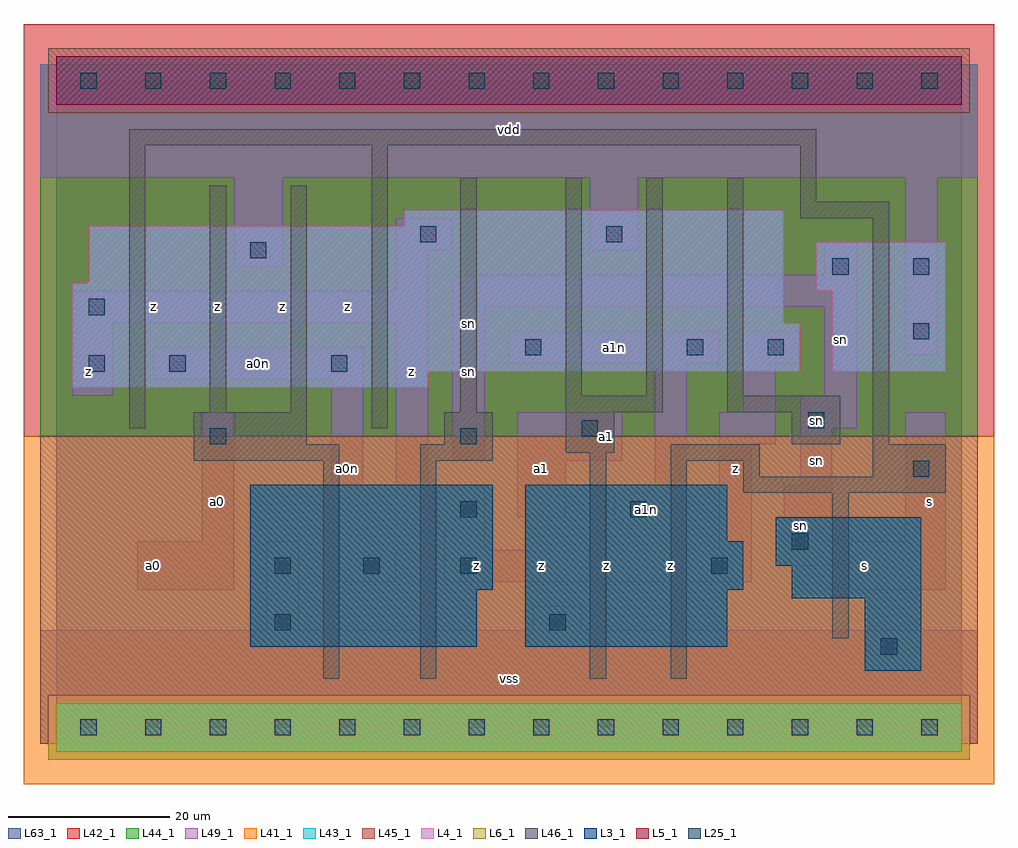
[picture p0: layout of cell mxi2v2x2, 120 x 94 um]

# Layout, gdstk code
import gdstk
lib = gdstk.Library(unit=1e-6, precision=1e-09)
def R(c, l, rs):  # rectangles x0, y0, x1, y1
    for r in rs: c.add(gdstk.rectangle(r[:2], r[2:], *l))
def A(c, l, x, y, w, h, nx, ny, dx, dy):  # array of equal rectangles
    R(c, l, [(x+i*dx, y+j*dy, x+i*dx+w, y+j*dy+h) for i in range(nx) for j in range(ny)])
L3_1 = (3, 1)
L4_1 = (4, 1)
L5_1 = (5, 1)
L6_1 = (6, 1)
L25_1 = (25, 1)
L41_1 = (41, 1)
L42_1 = (42, 1)
L43_1 = (43, 1)
L44_1 = (44, 1)
L45_1 = (45, 1)
L46_1 = (46, 1)
L49_1 = (49, 1)
L63_1 = (63, 1)

mxi2v2x2 = lib.new_cell('mxi2v2x2')
R(mxi2v2x2, L3_1, [(100,7,107,16), (24,10,52,17), (58,10,83,17), (91,16,107,20), (24,17,54,30), (58,17,85,23), (89,20,107,26), (58,23,83,30)])
R(mxi2v2x2, L4_1, [(2,42,46,44), (2,44,92,50), (96,44,110,54), (2,50,90,55), (94,54,110,60), (4,55,90,62), (43,62,90,64)])
R(mxi2v2x2, L5_1, [(0,77,112,83)])
R(mxi2v2x2, L6_1, [(0,-3,112,3), (0,-3,112,3)])
A(mxi2v2x2, L25_1, 3, -1, 2, 2, 14, 2, 8, 80)
R(mxi2v2x2, L25_1, [(102,9,104,11), (27,12,29,14), (61,12,63,14), (27,19,29,21), (38,19,40,21), (50,19,52,21), (81,19,83,21), (91,22,93,24), (50,26,52,28), (71,26,73,28), (106,31,108,33), (19,35,21,37), (50,35,52,37), (65,36,67,38), (93,37,95,39), (4,44,6,46), (14,44,16,46), (34,44,36,46), (58,46,60,48), (78,46,80,48), (88,46,90,48), (106,48,108,50), (4,51,6,53), (96,56,98,58), (106,56,108,58), (24,58,26,60), (45,60,47,62), (68,60,70,62)])
R(mxi2v2x2, L41_1, [(-4,-7,116,36)])
R(mxi2v2x2, L42_1, [(-4,36,116,87)])
R(mxi2v2x2, L43_1, [(0,-3,112,3), (100,7,107,16), (24,10,52,17), (58,10,83,17), (91,16,107,20), (24,17,54,30), (58,17,85,23), (89,20,107,26), (58,23,83,30), (2,42,46,44), (2,44,92,50), (96,44,110,54), (2,50,90,55), (94,54,110,60), (4,55,90,62), (43,62,90,64), (0,77,112,83)])
R(mxi2v2x2, L44_1, [(-1,-4,113,4), (-2,36,114,76), (-2,76,-1,82), (113,76,114,82)])
R(mxi2v2x2, L45_1, [(-2,-2,-1,4), (113,-2,114,4), (-2,4,114,36), (-1,76,113,84)])
A(mxi2v2x2, L46_1, 63, 41, 2, 27, 3, 1, 10, 0)
R(mxi2v2x2, L46_1, [(33,6,35,33), (45,6,47,33), (66,6,68,34), (76,6,78,33), (96,11,98,29), (85,29,110,31), (85,31,87,33), (101,31,110,35), (17,33,35,35), (45,33,54,35), (76,33,87,35), (63,34,69,39), (17,35,31,39), (48,35,54,39), (91,35,97,39), (101,35,103,63), (9,37,11,72), (39,37,41,72), (19,39,21,67), (29,39,31,67), (50,39,52,68), (63,39,75,41), (83,39,97,41), (92,63,103,65), (92,65,94,72), (9,72,94,74)])
R(mxi2v2x2, L49_1, [(-2,-2,114,12), (26,12,30,23), (59,12,65,15), (10,17,22,23), (98,17,110,23), (34,18,42,22), (48,18,86,22), (90,20,94,26), (34,22,38,43), (48,22,53,25), (82,22,86,35), (18,23,22,39), (105,23,110,39), (42,25,53,30), (69,25,78,29), (57,26,63,33), (90,26,96,30), (74,29,78,45), (42,30,46,50), (92,30,96,37), (49,33,53,52), (57,33,70,39), (82,35,89,39), (92,37,99,41), (85,39,89,45), (2,41,7,50), (95,41,99,52), (12,43,38,47), (56,45,82,49), (85,45,92,49), (105,46,109,68), (2,50,46,54), (49,52,99,56), (42,54,46,59), (95,56,99,60), (22,57,28,68), (42,59,49,63), (66,59,72,68), (-2,68,114,82)])
R(mxi2v2x2, L63_1, [(0,0,112,80)])
mxi2v2x2.add(gdstk.Label('sn', (51,50), layer=46, texttype=1))
mxi2v2x2.add(gdstk.Label('sn', (94,38), layer=49, texttype=1))
mxi2v2x2.add(gdstk.Label('a0', (12,20), layer=49, texttype=1))
mxi2v2x2.add(gdstk.Label('z', (4,44), layer=49, texttype=1))
mxi2v2x2.add(gdstk.Label('z', (12,52), layer=49, texttype=1))
mxi2v2x2.add(gdstk.Label('a0', (20,28), layer=49, texttype=1))
mxi2v2x2.add(gdstk.Label('a0n', (36,32), layer=49, texttype=1))
mxi2v2x2.add(gdstk.Label('a0n', (25,45), layer=49, texttype=1))
mxi2v2x2.add(gdstk.Label('z', (28,52), layer=49, texttype=1))
mxi2v2x2.add(gdstk.Label('z', (36,52), layer=49, texttype=1))
mxi2v2x2.add(gdstk.Label('z', (20,52), layer=49, texttype=1))
mxi2v2x2.add(gdstk.Label('vss', (56,6), layer=49, texttype=1))
mxi2v2x2.add(gdstk.Label('z', (60,20), layer=49, texttype=1))
mxi2v2x2.add(gdstk.Label('z', (52,20), layer=49, texttype=1))
mxi2v2x2.add(gdstk.Label('a1', (60,32), layer=49, texttype=1))
mxi2v2x2.add(gdstk.Label('z', (44,44), layer=49, texttype=1))
mxi2v2x2.add(gdstk.Label('sn', (51,44), layer=49, texttype=1))
mxi2v2x2.add(gdstk.Label('vdd', (56,74), layer=49, texttype=1))
mxi2v2x2.add(gdstk.Label('z', (68,20), layer=49, texttype=1))
mxi2v2x2.add(gdstk.Label('a1n', (73,27), layer=49, texttype=1))
mxi2v2x2.add(gdstk.Label('z', (76,20), layer=49, texttype=1))
mxi2v2x2.add(gdstk.Label('z', (84,32), layer=49, texttype=1))
mxi2v2x2.add(gdstk.Label('a1', (68,36), layer=49, texttype=1))
mxi2v2x2.add(gdstk.Label('a1n', (69,47), layer=49, texttype=1))
mxi2v2x2.add(gdstk.Label('sn', (92,25), layer=49, texttype=1))
mxi2v2x2.add(gdstk.Label('s', (108,28), layer=49, texttype=1))
mxi2v2x2.add(gdstk.Label('s', (100,20), layer=49, texttype=1))
mxi2v2x2.add(gdstk.Label('sn', (94,33), layer=49, texttype=1))
mxi2v2x2.add(gdstk.Label('sn', (97,48), layer=49, texttype=1))

lib.write_gds('mxi2v2x2.gds')
